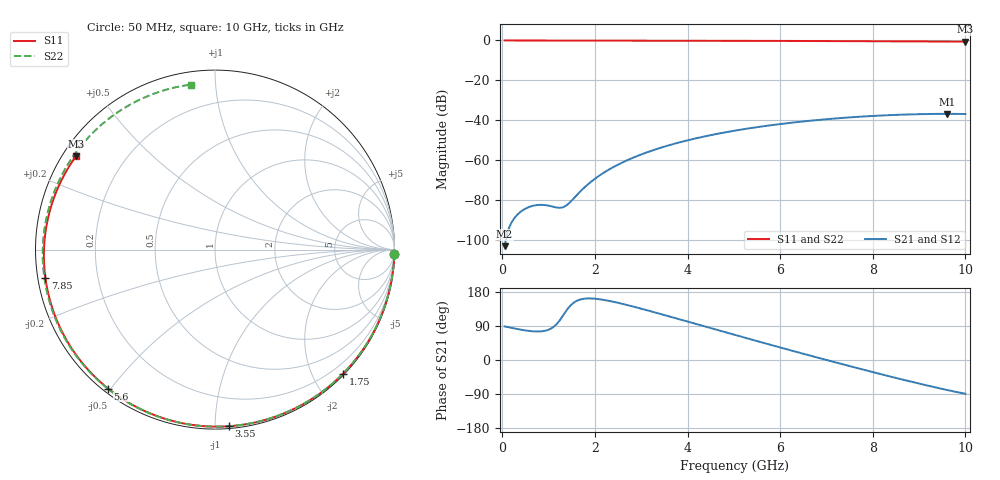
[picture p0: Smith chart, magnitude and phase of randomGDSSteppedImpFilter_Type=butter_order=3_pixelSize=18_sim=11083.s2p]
! freq	dB(S11)	phase(S11)	dB(S12)	phase(S12)
!  dB(S21)	phase(S21)	dB(S22)	phase(S22)
!S-par simulation data
#  GHz  S  DB  R 50
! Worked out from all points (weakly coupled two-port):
!   200 points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, 50 MHz to 10 GHz, reference 50 ohm
!   highest |S21| = -36.75 dB at 9.6 GHz (marker M1); lowest = -103.0 dB at 50 MHz (marker M2)
!   lowest |S11| = -0.6 dB at 10 GHz (marker M3), VSWR 28.84, Z = 1.9 + j15.3 ohm
!   |S11| at or under -10 dB: nowhere
!   |S22| runs from -0.6 to 0.0 dB; largest |S21 - S12| = 0
!   S11 on the Smith chart (normalised r, x): 50 MHz: 0, -88; 1.75 GHz: 0.02, -2.47; 3.55 GHz: 0.01, -1.08; 5.6 GHz: 0.01, -0.49; 7.85 GHz: 0.02, -0.08; 10 GHz: 0.04, +0.31
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0.05  -0.00 -1.3  -103.00 88.7  -103.00 88.7  -0.00 -1.4
0.4  -0.01 -10.3  -85.70 80.0  -85.70 80.0  -0.01 -11.2
0.75  -0.02 -19.2  -82.43 75.2  -82.43 75.2  -0.03 -20.9
1.1  -0.03 -28.0  -83.26 86.8  -83.26 86.8  -0.04 -30.6
1.5  -0.05 -37.9  -80.12 147.0  -80.12 147.0  -0.05 -41.4
1.75  -0.06 -44.0  -74.14 161.3  -74.14 161.3  -0.06 -48.1
2.05  -0.06 -51.3  -68.42 161.1  -68.42 161.1  -0.07 -56.1
2.45  -0.08 -60.7  -62.76 152.3  -62.76 152.3  -0.09 -66.5
2.9  -0.09 -71.1  -57.98 138.7  -57.98 138.7  -0.10 -78.0
3.4  -0.11 -82.2  -53.87 122.1  -53.87 122.1  -0.12 -90.5
3.55  -0.11 -85.5  -52.81 116.9  -52.81 116.9  -0.12 -94.2
4.3  -0.14 -101.4  -48.39 91.1  -48.39 91.1  -0.16 -112.3
5.05  -0.17 -116.7  -45.04 65.2  -45.04 65.2  -0.20 -130.1
5.6  -0.20 -127.6  -43.08 46.5  -43.08 46.5  -0.23 -143.0
6.15  -0.24 -138.2  -41.44 28.1  -41.44 28.1  -0.27 -156.1
6.7  -0.28 -148.7  -40.07 9.9  -40.07 9.9  -0.32 -169.3
7.3  -0.32 -160.1  -38.86 -9.7  -38.86 -9.7  -0.37 175.8
7.85  -0.37 -170.6  -37.99 -27.2  -37.99 -27.2  -0.43 161.5
8.35  -0.42 179.7  -37.40 -42.8  -37.40 -42.8  -0.48 148.0
8.95  -0.48 167.8  -36.93 -60.8  -36.93 -60.8  -0.54 130.8
9.6  -0.56 154.4  -36.75 -79.1  -36.75 -79.1  -0.60 111.0
10  -0.60 145.9  -36.83 -89.1  -36.83 -89.1  -0.64 98.3
